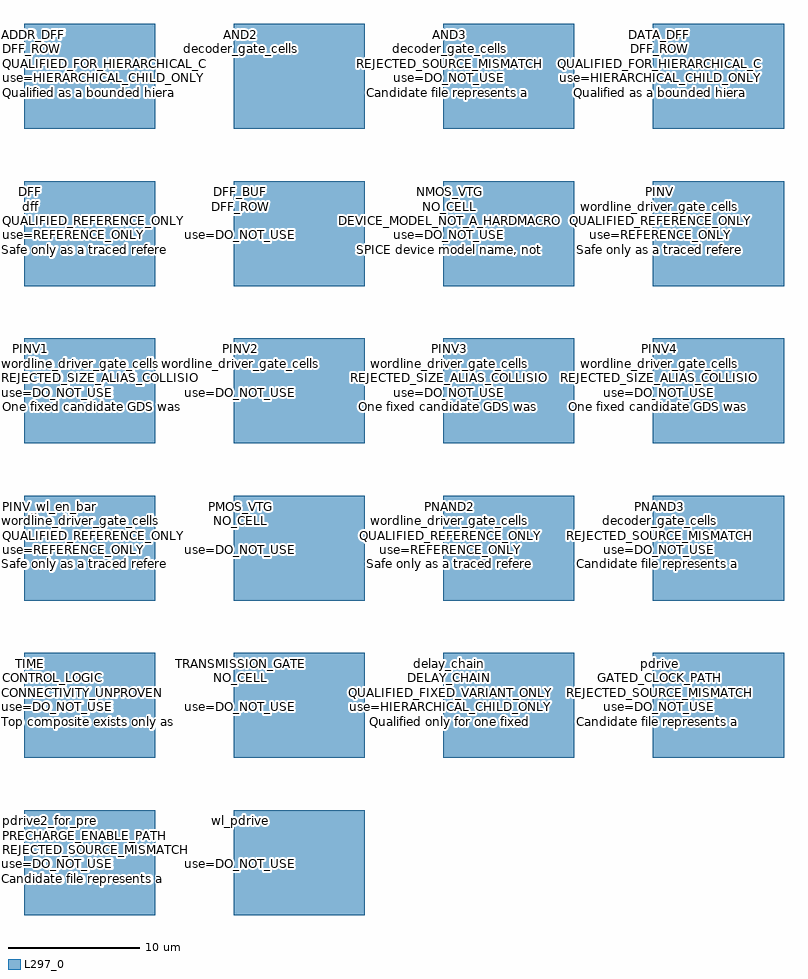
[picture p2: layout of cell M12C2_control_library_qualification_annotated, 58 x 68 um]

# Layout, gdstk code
import gdstk
lib = gdstk.Library(unit=1e-6, precision=1e-09)
def R(c, l, rs):  # rectangles x0, y0, x1, y1
    for r in rs: c.add(gdstk.rectangle(r[:2], r[2:], *l))
def A(c, l, x, y, w, h, nx, ny, dx, dy):  # array of equal rectangles
    R(c, l, [(x+i*dx, y+j*dy, x+i*dx+w, y+j*dy+h) for i in range(nx) for j in range(ny)])
L297_0 = (297, 0)

m12c2_control_library_qu = lib.new_cell('M12C2_control_library_qualification_annotated')
A(m12c2_control_library_qu, L297_0, 0, -48, 10, 8, 4, 5, 16, 12)
R(m12c2_control_library_qu, L297_0, [(0,-60,10,-52), (16,-60,26,-52)])
m12c2_control_library_qu.add(gdstk.Label('ADDR_DFF', (0.5,7.2), layer=296, texttype=0))
m12c2_control_library_qu.add(gdstk.Label('DFF_ROW', (0.5,6.1), layer=296, texttype=0))
m12c2_control_library_qu.add(gdstk.Label('QUALIFIED_FOR_HIERARCHICAL_COMPOSITION', (0.5,5), layer=296, texttype=0))
m12c2_control_library_qu.add(gdstk.Label('use=HIERARCHICAL_CHILD_ONLY', (0.5,3.9), layer=296, texttype=0))
m12c2_control_library_qu.add(gdstk.Label('Qualified as a bounded hierarchical child candidate, not as a final CO', (0.5,2.8), layer=296, texttype=0))
m12c2_control_library_qu.add(gdstk.Label('AND2', (16.5,7.2), layer=296, texttype=0))
m12c2_control_library_qu.add(gdstk.Label('decoder_gate_cells', (16.5,6.1), layer=296, texttype=0))
m12c2_control_library_qu.add(gdstk.Label('REJECTED_SOURCE_MISMATCH', (16.5,5), layer=296, texttype=0))
m12c2_control_library_qu.add(gdstk.Label('use=DO_NOT_USE', (16.5,3.9), layer=296, texttype=0))
m12c2_control_library_qu.add(gdstk.Label('Candidate file represents a broader path/composite or the wrong primit', (16.5,2.8), layer=296, texttype=0))
m12c2_control_library_qu.add(gdstk.Label('AND3', (32.5,7.2), layer=296, texttype=0))
m12c2_control_library_qu.add(gdstk.Label('decoder_gate_cells', (32.5,6.1), layer=296, texttype=0))
m12c2_control_library_qu.add(gdstk.Label('REJECTED_SOURCE_MISMATCH', (32.5,5), layer=296, texttype=0))
m12c2_control_library_qu.add(gdstk.Label('use=DO_NOT_USE', (32.5,3.9), layer=296, texttype=0))
m12c2_control_library_qu.add(gdstk.Label('Candidate file represents a broader path/composite or the wrong primit', (32.5,2.8), layer=296, texttype=0))
m12c2_control_library_qu.add(gdstk.Label('DATA_DFF', (48.5,7.2), layer=296, texttype=0))
m12c2_control_library_qu.add(gdstk.Label('DFF_ROW', (48.5,6.1), layer=296, texttype=0))
m12c2_control_library_qu.add(gdstk.Label('QUALIFIED_FOR_HIERARCHICAL_COMPOSITION', (48.5,5), layer=296, texttype=0))
m12c2_control_library_qu.add(gdstk.Label('use=HIERARCHICAL_CHILD_ONLY', (48.5,3.9), layer=296, texttype=0))
m12c2_control_library_qu.add(gdstk.Label('Qualified as a bounded hierarchical child candidate, not as a final CO', (48.5,2.8), layer=296, texttype=0))
m12c2_control_library_qu.add(gdstk.Label('DFF', (0.5,-4.8), layer=296, texttype=0))
m12c2_control_library_qu.add(gdstk.Label('dff', (0.5,-5.9), layer=296, texttype=0))
m12c2_control_library_qu.add(gdstk.Label('QUALIFIED_REFERENCE_ONLY', (0.5,-7), layer=296, texttype=0))
m12c2_control_library_qu.add(gdstk.Label('use=REFERENCE_ONLY', (0.5,-8.1), layer=296, texttype=0))
m12c2_control_library_qu.add(gdstk.Label('Safe only as a traced reference, not as a direct OpenYield-qualified r', (0.5,-9.2), layer=296, texttype=0))
m12c2_control_library_qu.add(gdstk.Label('DFF_BUF', (16.5,-4.8), layer=296, texttype=0))
m12c2_control_library_qu.add(gdstk.Label('DFF_ROW', (16.5,-5.9), layer=296, texttype=0))
m12c2_control_library_qu.add(gdstk.Label('PARTIAL_SOURCE_TRACE', (16.5,-7), layer=296, texttype=0))
m12c2_control_library_qu.add(gdstk.Label('use=DO_NOT_USE', (16.5,-8.1), layer=296, texttype=0))
m12c2_control_library_qu.add(gdstk.Label('Candidate composite provides some geometry, but source-to-physical tra', (16.5,-9.2), layer=296, texttype=0))
m12c2_control_library_qu.add(gdstk.Label('NMOS_VTG', (32.5,-4.8), layer=296, texttype=0))
m12c2_control_library_qu.add(gdstk.Label('NO_CELL', (32.5,-5.9), layer=296, texttype=0))
m12c2_control_library_qu.add(gdstk.Label('DEVICE_MODEL_NOT_A_HARDMACRO', (32.5,-7), layer=296, texttype=0))
m12c2_control_library_qu.add(gdstk.Label('use=DO_NOT_USE', (32.5,-8.1), layer=296, texttype=0))
m12c2_control_library_qu.add(gdstk.Label('SPICE device model name, not a placeable hardmacro.', (32.5,-9.2), layer=296, texttype=0))
m12c2_control_library_qu.add(gdstk.Label('PINV', (48.5,-4.8), layer=296, texttype=0))
m12c2_control_library_qu.add(gdstk.Label('wordline_driver_gate_cells', (48.5,-5.9), layer=296, texttype=0))
m12c2_control_library_qu.add(gdstk.Label('QUALIFIED_REFERENCE_ONLY', (48.5,-7), layer=296, texttype=0))
m12c2_control_library_qu.add(gdstk.Label('use=REFERENCE_ONLY', (48.5,-8.1), layer=296, texttype=0))
m12c2_control_library_qu.add(gdstk.Label('Safe only as a traced reference, not as a direct OpenYield-qualified r', (48.5,-9.2), layer=296, texttype=0))
m12c2_control_library_qu.add(gdstk.Label('PINV1', (0.5,-16.8), layer=296, texttype=0))
m12c2_control_library_qu.add(gdstk.Label('wordline_driver_gate_cells', (0.5,-17.9), layer=296, texttype=0))
m12c2_control_library_qu.add(gdstk.Label('REJECTED_SIZE_ALIAS_COLLISION', (0.5,-19), layer=296, texttype=0))
m12c2_control_library_qu.add(gdstk.Label('use=DO_NOT_USE', (0.5,-20.1), layer=296, texttype=0))
m12c2_control_library_qu.add(gdstk.Label('One fixed candidate GDS was mapped to multiple logically distinct size', (0.5,-21.2), layer=296, texttype=0))
m12c2_control_library_qu.add(gdstk.Label('PINV2', (16.5,-16.8), layer=296, texttype=0))
m12c2_control_library_qu.add(gdstk.Label('wordline_driver_gate_cells', (16.5,-17.9), layer=296, texttype=0))
m12c2_control_library_qu.add(gdstk.Label('REJECTED_SIZE_ALIAS_COLLISION', (16.5,-19), layer=296, texttype=0))
m12c2_control_library_qu.add(gdstk.Label('use=DO_NOT_USE', (16.5,-20.1), layer=296, texttype=0))
m12c2_control_library_qu.add(gdstk.Label('One fixed candidate GDS was mapped to multiple logically distinct size', (16.5,-21.2), layer=296, texttype=0))
m12c2_control_library_qu.add(gdstk.Label('PINV3', (32.5,-16.8), layer=296, texttype=0))
m12c2_control_library_qu.add(gdstk.Label('wordline_driver_gate_cells', (32.5,-17.9), layer=296, texttype=0))
m12c2_control_library_qu.add(gdstk.Label('REJECTED_SIZE_ALIAS_COLLISION', (32.5,-19), layer=296, texttype=0))
m12c2_control_library_qu.add(gdstk.Label('use=DO_NOT_USE', (32.5,-20.1), layer=296, texttype=0))
m12c2_control_library_qu.add(gdstk.Label('One fixed candidate GDS was mapped to multiple logically distinct size', (32.5,-21.2), layer=296, texttype=0))
m12c2_control_library_qu.add(gdstk.Label('PINV4', (48.5,-16.8), layer=296, texttype=0))
m12c2_control_library_qu.add(gdstk.Label('wordline_driver_gate_cells', (48.5,-17.9), layer=296, texttype=0))
m12c2_control_library_qu.add(gdstk.Label('REJECTED_SIZE_ALIAS_COLLISION', (48.5,-19), layer=296, texttype=0))
m12c2_control_library_qu.add(gdstk.Label('use=DO_NOT_USE', (48.5,-20.1), layer=296, texttype=0))
m12c2_control_library_qu.add(gdstk.Label('One fixed candidate GDS was mapped to multiple logically distinct size', (48.5,-21.2), layer=296, texttype=0))
m12c2_control_library_qu.add(gdstk.Label('PINV_wl_en_bar', (0.5,-28.8), layer=296, texttype=0))
m12c2_control_library_qu.add(gdstk.Label('wordline_driver_gate_cells', (0.5,-29.9), layer=296, texttype=0))
m12c2_control_library_qu.add(gdstk.Label('QUALIFIED_REFERENCE_ONLY', (0.5,-31), layer=296, texttype=0))
m12c2_control_library_qu.add(gdstk.Label('use=REFERENCE_ONLY', (0.5,-32.1), layer=296, texttype=0))
m12c2_control_library_qu.add(gdstk.Label('Safe only as a traced reference, not as a direct OpenYield-qualified r', (0.5,-33.2), layer=296, texttype=0))
m12c2_control_library_qu.add(gdstk.Label('PMOS_VTG', (16.5,-28.8), layer=296, texttype=0))
m12c2_control_library_qu.add(gdstk.Label('NO_CELL', (16.5,-29.9), layer=296, texttype=0))
m12c2_control_library_qu.add(gdstk.Label('DEVICE_MODEL_NOT_A_HARDMACRO', (16.5,-31), layer=296, texttype=0))
m12c2_control_library_qu.add(gdstk.Label('use=DO_NOT_USE', (16.5,-32.1), layer=296, texttype=0))
m12c2_control_library_qu.add(gdstk.Label('SPICE device model name, not a placeable hardmacro.', (16.5,-33.2), layer=296, texttype=0))
m12c2_control_library_qu.add(gdstk.Label('PNAND2', (32.5,-28.8), layer=296, texttype=0))
m12c2_control_library_qu.add(gdstk.Label('wordline_driver_gate_cells', (32.5,-29.9), layer=296, texttype=0))
m12c2_control_library_qu.add(gdstk.Label('QUALIFIED_REFERENCE_ONLY', (32.5,-31), layer=296, texttype=0))
m12c2_control_library_qu.add(gdstk.Label('use=REFERENCE_ONLY', (32.5,-32.1), layer=296, texttype=0))
m12c2_control_library_qu.add(gdstk.Label('Safe only as a traced reference, not as a direct OpenYield-qualified r', (32.5,-33.2), layer=296, texttype=0))
m12c2_control_library_qu.add(gdstk.Label('PNAND3', (48.5,-28.8), layer=296, texttype=0))
m12c2_control_library_qu.add(gdstk.Label('decoder_gate_cells', (48.5,-29.9), layer=296, texttype=0))
m12c2_control_library_qu.add(gdstk.Label('REJECTED_SOURCE_MISMATCH', (48.5,-31), layer=296, texttype=0))
m12c2_control_library_qu.add(gdstk.Label('use=DO_NOT_USE', (48.5,-32.1), layer=296, texttype=0))
m12c2_control_library_qu.add(gdstk.Label('Candidate file represents a broader path/composite or the wrong primit', (48.5,-33.2), layer=296, texttype=0))
m12c2_control_library_qu.add(gdstk.Label('TIME', (0.5,-40.8), layer=296, texttype=0))
m12c2_control_library_qu.add(gdstk.Label('CONTROL_LOGIC', (0.5,-41.9), layer=296, texttype=0))
m12c2_control_library_qu.add(gdstk.Label('CONNECTIVITY_UNPROVEN', (0.5,-43), layer=296, texttype=0))
m12c2_control_library_qu.add(gdstk.Label('use=DO_NOT_USE', (0.5,-44.1), layer=296, texttype=0))
m12c2_control_library_qu.add(gdstk.Label('Top composite exists only as candidate assembly; electrical equivalenc', (0.5,-45.2), layer=296, texttype=0))
m12c2_control_library_qu.add(gdstk.Label('TRANSMISSION_GATE', (16.5,-40.8), layer=296, texttype=0))
m12c2_control_library_qu.add(gdstk.Label('NO_CELL', (16.5,-41.9), layer=296, texttype=0))
m12c2_control_library_qu.add(gdstk.Label('MISSING_REQUIRES_GENERATOR', (16.5,-43), layer=296, texttype=0))
m12c2_control_library_qu.add(gdstk.Label('use=DO_NOT_USE', (16.5,-44.1), layer=296, texttype=0))
m12c2_control_library_qu.add(gdstk.Label('No standalone candidate GDS or qualified primitive layout generator ex', (16.5,-45.2), layer=296, texttype=0))
m12c2_control_library_qu.add(gdstk.Label('delay_chain', (32.5,-40.8), layer=296, texttype=0))
m12c2_control_library_qu.add(gdstk.Label('DELAY_CHAIN', (32.5,-41.9), layer=296, texttype=0))
m12c2_control_library_qu.add(gdstk.Label('QUALIFIED_FIXED_VARIANT_ONLY', (32.5,-43), layer=296, texttype=0))
m12c2_control_library_qu.add(gdstk.Label('use=HIERARCHICAL_CHILD_ONLY', (32.5,-44.1), layer=296, texttype=0))
m12c2_control_library_qu.add(gdstk.Label('Qualified only for one fixed candidate variant with bounded use.', (32.5,-45.2), layer=296, texttype=0))
m12c2_control_library_qu.add(gdstk.Label('pdrive', (48.5,-40.8), layer=296, texttype=0))
m12c2_control_library_qu.add(gdstk.Label('GATED_CLOCK_PATH', (48.5,-41.9), layer=296, texttype=0))
m12c2_control_library_qu.add(gdstk.Label('REJECTED_SOURCE_MISMATCH', (48.5,-43), layer=296, texttype=0))
m12c2_control_library_qu.add(gdstk.Label('use=DO_NOT_USE', (48.5,-44.1), layer=296, texttype=0))
m12c2_control_library_qu.add(gdstk.Label('Candidate file represents a broader path/composite or the wrong primit', (48.5,-45.2), layer=296, texttype=0))
m12c2_control_library_qu.add(gdstk.Label('pdrive2_for_pre', (0.5,-52.8), layer=296, texttype=0))
m12c2_control_library_qu.add(gdstk.Label('PRECHARGE_ENABLE_PATH', (0.5,-53.9), layer=296, texttype=0))
m12c2_control_library_qu.add(gdstk.Label('REJECTED_SOURCE_MISMATCH', (0.5,-55), layer=296, texttype=0))
m12c2_control_library_qu.add(gdstk.Label('use=DO_NOT_USE', (0.5,-56.1), layer=296, texttype=0))
m12c2_control_library_qu.add(gdstk.Label('Candidate file represents a broader path/composite or the wrong primit', (0.5,-57.2), layer=296, texttype=0))
m12c2_control_library_qu.add(gdstk.Label('wl_pdrive', (16.5,-52.8), layer=296, texttype=0))
m12c2_control_library_qu.add(gdstk.Label('WORDLINE_ENABLE_PATH', (16.5,-53.9), layer=296, texttype=0))
m12c2_control_library_qu.add(gdstk.Label('REJECTED_SOURCE_MISMATCH', (16.5,-55), layer=296, texttype=0))
m12c2_control_library_qu.add(gdstk.Label('use=DO_NOT_USE', (16.5,-56.1), layer=296, texttype=0))
m12c2_control_library_qu.add(gdstk.Label('Candidate file represents a broader path/composite or the wrong primit', (16.5,-57.2), layer=296, texttype=0))

lib.write_gds('M12C2_control_library_qualification_annotated.gds')
